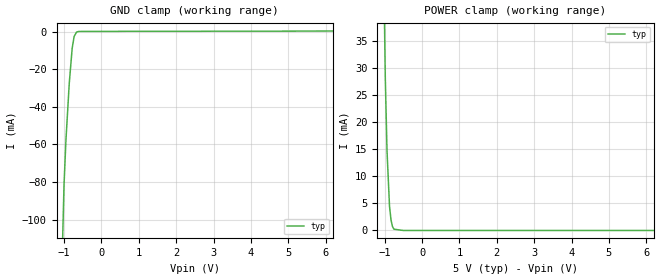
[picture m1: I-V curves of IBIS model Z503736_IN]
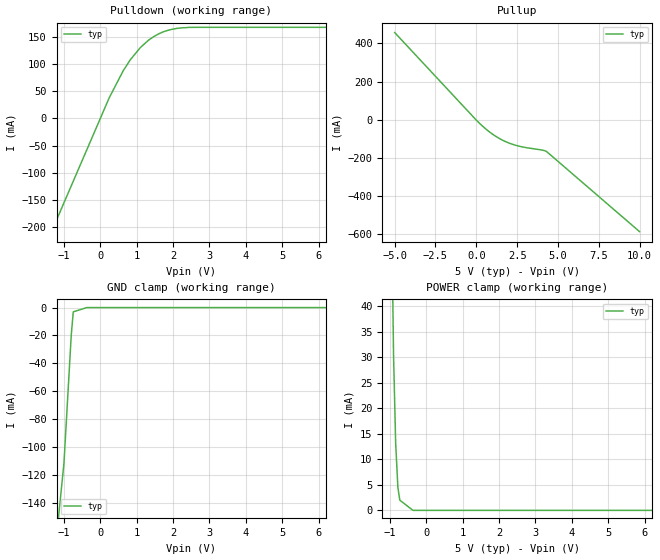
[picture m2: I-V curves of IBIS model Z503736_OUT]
| YOU ARE ONLY AUTHORIZED TO USE THIS SOFTWARE
| ACCORDING TO LICENSOR'S LICENSE RESTRICTIONS.
[IBIS Ver] 3.1
[File Name] mc74ac151n_5.ibs
[File Rev] 2.0
[Source] Measured and created by ICX Technology
[Date] Friday 7/14/00 9:07:58 AM
[Copyright]
| (C) COPYRIGHT 1993-2000
| MENTOR GRAPHICS CORPORATION
| ICX STANDARD LIBRARY, ICX PROJECT MODELING,
| ICX CUSTOM MODELING, ICX VENDOR MODEL
| ALL RIGHTS RESERVED.
| THE FOLLOWING ARE TRADEMARKS OR SERVICE MARKS OF
| MENTOR GRAPHICS CORPORATION:ICX (R), ICX STANDARD
| LIBRARY(R), ICX PROJECT MODELING(R), ICX CUSTOM
| MODELING(R), qualityIBIS(TM), MODELVIEWER(TM),
| AND MODELEDITOR(TM)
| ALL COPIES OF SOFTWARE, INCLUDING BUT NOT LIMITED TO
| ANY MODIFICATIONS, ENHANCEMENTS OR DERIVATIVE WORKS,
| MUST CONTAIN ALL MENTOR GRAPHICS CORPORATION'S
| NOTICES AND LEGENDS, INCLUDING THOSE EMBEDDED IN
| SOFTWARE AND THOSE AFFIXED TO SOFTWARE MEDIUM
| AND CONTAINER, AS RECEIVED FROM MENTOR GRAPHICS
| CORPORATION.
|  ZAP Model Builder 2.7
[Component] MC74AC151N_5
[Manufacturer] OnSemiconductor
[Package]
| variable   typ   min   max
R_pkg  .212ohms NA NA
L_pkg  4.758nH NA NA
C_pkg  1.143pF NA NA
[Pin] signal_name  model_name  R_pin  L_pin C_pin
1 D3 Z503736_IN .224 7.258n 1.578p
2 D2 Z503736_IN .216 5.258n 1.288p
3 D1 Z503736_IN .208 3.758n .998p
4 D0 Z503736_IN .2 2.758n .708p
5 Y Z503736_OUT .2 2.758n .708p
6 _Y Z503736_OUT .208 3.758n .998p
7 _G Z503736_IN .216 5.258n 1.288p
8 GND GND .224 7.258n 1.578p
9 C Z503736_IN .224 7.258n 1.578p
10 B Z503736_IN .216 5.258n 1.288p
11 A Z503736_IN .208 3.758n .998p
12 D7 Z503736_IN .2 2.758n .708p
13 D6 Z503736_IN .2 2.758n .708p
14 D5 Z503736_IN .208 3.758n .998p
15 D4 Z503736_IN .216 5.258n 1.288p
16 VCC POWER .224 7.258n 1.578p
| Models and submodels in the file (2): Z503736_IN (Input), Z503736_OUT (Output)
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| (C) COPYRIGHT 1993-2000
| MENTOR GRAPHICS CORPORATION
| ICX STANDARD LIBRARY, ICX PROJECT MODELING,
| ICX CUSTOM MODELING, ICX VENDOR MODEL
| ALL RIGHTS RESERVED.
| THE FOLLOWING ARE TRADEMARKS OR SERVICE MARKS OF
| MENTOR GRAPHICS CORPORATION:ICX (R), ICX STANDARD
| LIBRARY(R), ICX PROJECT MODELING(R), ICX CUSTOM
| MODELING(R), qualityIBIS(TM), MODELVIEWER(TM),
| AND MODELEDITOR(TM)
| ALL COPIES OF SOFTWARE, INCLUDING BUT NOT LIMITED TO
| ANY MODIFICATIONS, ENHANCEMENTS OR DERIVATIVE WORKS,
| MUST CONTAIN ALL MENTOR GRAPHICS CORPORATION'S
| NOTICES AND LEGENDS, INCLUDING THOSE EMBEDDED IN
| SOFTWARE AND THOSE AFFIXED TO SOFTWARE MEDIUM
| AND CONTAINER, AS RECEIVED FROM MENTOR GRAPHICS
| CORPORATION.
| Model Application Version 1.89 2/18/99.
[Model] Z503736_IN
Model_type Input
Vinl = 1.500V
Vinh = 3.500V
C_comp 4.000pF NA NA
| variable typ   min   max
[Voltage Range] 5.000V NA NA
[GND Clamp Reference] 0.000V NA NA
[POWER Clamp Reference] 5.000V NA NA
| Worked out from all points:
|   GND clamp passes 1 mA (typ) near -0.69 V on its own axis
|   POWER clamp passes 1 mA (typ) near -0.80 V on its own axis
[GND Clamp]
-5V       -3.178A    NA         NA
-1.055V   -124.8mA   NA         NA
-999.3mV  -81.39mA   NA         NA
-947.3mV  -57.37mA   NA         NA
-859.2mV  -27.43mA   NA         NA
-781.2mV  -8.766mA   NA         NA
-729mV    -2.529mA   NA         NA
-667mV    -284uA     NA         NA
-648.1mV  -84.55uA   NA         NA
10V       616.8uA    NA         NA
[POWER Clamp]
-5V       3.33A      NA         NA
-1.318V   234.6mA    NA         NA
-1.113V   92.19mA    NA         NA
-983mV    28.36mA    NA         NA
-936mV    14.64mA    NA         NA
-869mV    4.435mA    NA         NA
-830mV    1.994mA    NA         NA
-792mV    773.6uA    NA         NA
-752mV    238.7uA    NA         NA
-501.3mV  0A         NA         NA
10V       0A         NA         NA
| (C) COPYRIGHT 1993-2000
| MENTOR GRAPHICS CORPORATION
| ICX STANDARD LIBRARY, ICX PROJECT MODELING,
| ICX CUSTOM MODELING, ICX VENDOR MODEL
| ALL RIGHTS RESERVED.
| THE FOLLOWING ARE TRADEMARKS OR SERVICE MARKS OF
| MENTOR GRAPHICS CORPORATION:ICX (R), ICX STANDARD
| LIBRARY(R), ICX PROJECT MODELING(R), ICX CUSTOM
| MODELING(R), qualityIBIS(TM), MODELVIEWER(TM),
| AND MODELEDITOR(TM)
| ALL COPIES OF SOFTWARE, INCLUDING BUT NOT LIMITED TO
| ANY MODIFICATIONS, ENHANCEMENTS OR DERIVATIVE WORKS,
| MUST CONTAIN ALL MENTOR GRAPHICS CORPORATION'S
| NOTICES AND LEGENDS, INCLUDING THOSE EMBEDDED IN
| SOFTWARE AND THOSE AFFIXED TO SOFTWARE MEDIUM
| AND CONTAINER, AS RECEIVED FROM MENTOR GRAPHICS
| CORPORATION.
| Model Application Version 1.89 2/18/99.
[Model] Z503736_OUT
Model_type Output
Vref=0.000V
Rref=500.0ohms
Cref=50.00pF
Vmeas=2.500V
C_comp 8.000pF NA NA
| variable typ   min   max
[Voltage Range] 5.000V NA NA
[POWER Clamp Reference] 5.000V NA NA
[Pullup Reference] 5.000V NA NA
[Pulldown Reference] 0.000V NA NA
[GND Clamp Reference] 0.000V NA NA
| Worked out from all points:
|   slope of the pulldown table from 0 to 0.75 V, typ, clamps not added: 7.44 ohm
|   slope of the pullup table from 0 to 0.75 V, typ, clamps not added: 12.9 ohm
[GND Clamp]
-5V       -1.145A    NA         NA
-996.3mV  -111.9mA   NA         NA
-794.8mV  -19.48mA   NA         NA
-739.7mV  -3.073mA   NA         NA
-369.9mV  0A         NA         NA
10V       0A         NA         NA
[Pulldown]
-5V       -780.1mA   NA         NA
244.7mV   37.67mA    NA         NA
630mV     87.79mA    NA         NA
825.6mV   108.2mA    NA         NA
1.104V    130.9mA    NA         NA
1.328V    144.5mA    NA         NA
1.73V     159.8mA    NA         NA
2.104V    166.2mA    NA         NA
2.418V    168.1mA    NA         NA
10V       168.2mA    NA         NA
[Pullup]
-5V       457.5mA    NA         NA
35mV      -5.832mA   NA         NA
586mV     -49.48mA   NA         NA
1.412V    -99.11mA   NA         NA
2.065V    -125.1mA   NA         NA
2.822V    -143.4mA   NA         NA
4.299V    -167.3mA   NA         NA
10V       -588.4mA   NA         NA
[POWER Clamp]
-5V       3.254A     NA         NA
-1.016V   94.33mA    NA         NA
-895mV    30.56mA    NA         NA
-837mV    13.23mA    NA         NA
-775mV    4.441mA    NA         NA
-723mV    1.996mA    NA         NA
-361.5mV  0A         NA         NA
10V       0A         NA         NA
[Ramp]
| variable typ min max
dV/dt_r 2.948/507.5p NA NA
dV/dt_f 2.948/509.9p NA NA
R_load = 500.0Ohms
